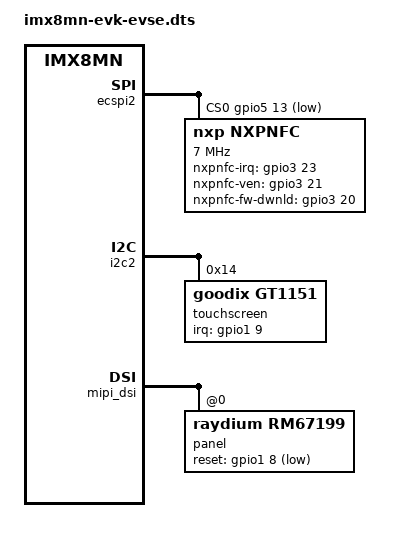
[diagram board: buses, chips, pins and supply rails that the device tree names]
// SPDX-License-Identifier: (GPL-2.0+ OR MIT)
/*
 * Copyright 2023 NXP
 */

/dts-v1/;

#include "imx8mn-evk.dts"

&adv_bridge {
	status = "disabled";
};

&ecspi2 {
	pinctrl-names = "default";
	pinctrl-0 = <&pinctrl_ecspi2 &pinctrl_ecspi2_cs>;
	cs-gpios = <&gpio5 13 GPIO_ACTIVE_LOW>;
	status = "okay";

	nxpnfc: nxpnfc@0 {
		compatible = "nxp,nxpnfc";
		reg = <0>;
		nxp,nxpnfc-irq = <&gpio3 23 GPIO_ACTIVE_HIGH>;
		nxp,nxpnfc-ven = <&gpio3 21 GPIO_ACTIVE_HIGH>;
		nxp,nxpnfc-fw-dwnld = <&gpio3 20 GPIO_ACTIVE_HIGH>;
		spi-max-frequency = <7000000>;
	};
};

&i2c2 {
	touchscreen@14 {
		compatible = "goodix,gt1151";
		reg = <0x14>;
		pinctrl-names = "default";
		pinctrl-0 = <&pinctrl_i2c2_synaptics_dsx_io>;
		interrupt-parent = <&gpio1>;
		interrupts = <9 IRQ_TYPE_EDGE_FALLING>;
		irq-gpios = <&gpio1 9 GPIO_ACTIVE_HIGH>;
		edge-failling-trigger;
		touchscreen-size-x = <1080>;
		touchscreen-size-y = <1920>;
	};
};

&micfil {
	status = "disabled";
};

&mipi_dsi {
	panel@0 {
		compatible = "raydium,rm67199";
		reg = <0>;
		pinctrl-0 = <&pinctrl_mipi_dsi_en>;
		reset-gpio = <&gpio1 8 GPIO_ACTIVE_LOW>;
		dsi-lanes = <4>;
		video-mode = <2>;	/* 0: burst mode
					 * 1: non-burst mode with sync event
					 * 2: non-burst mode with sync pulse
					 * 3: command mode
					 */
		panel-width-mm = <68>;
		panel-height-mm = <121>;
		status = "okay";
	};
};

&uart3 {
	/delete-property/ uart-has-rtscts;
	pinctrl-0 = <&pinctrl_uart3_meter>;
};

&iomuxc {
	pinctrl_ecspi2: ecspi2grp {
		fsl,pins = <
			MX8MN_IOMUXC_ECSPI2_SCLK_ECSPI2_SCLK		0x82
			MX8MN_IOMUXC_ECSPI2_MOSI_ECSPI2_MOSI		0x82
			MX8MN_IOMUXC_ECSPI2_MISO_ECSPI2_MISO		0x82
		>;
	};

	pinctrl_ecspi2_cs: ecspi2cs {
		fsl,pins = <
			MX8MN_IOMUXC_ECSPI2_SS0_GPIO5_IO13		0x41
		>;
	};

	pinctrl_uart3_meter: uart3grp {
		fsl,pins = <
			MX8MN_IOMUXC_ECSPI1_SCLK_UART3_DCE_RX		0x140
			MX8MN_IOMUXC_ECSPI1_MOSI_UART3_DCE_TX		0x140
		>;
	};
};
